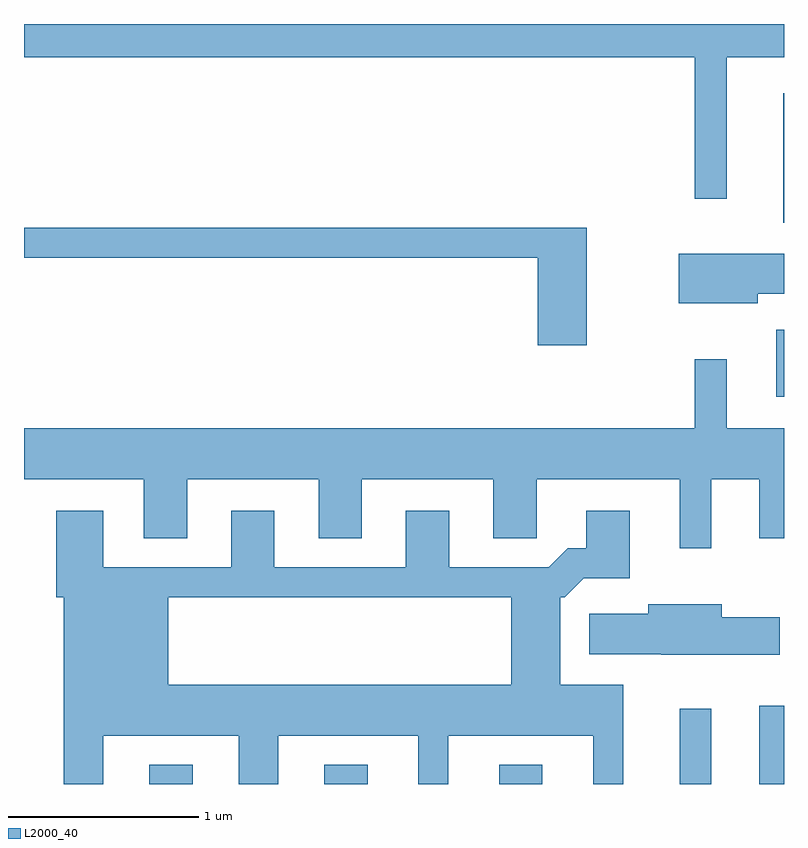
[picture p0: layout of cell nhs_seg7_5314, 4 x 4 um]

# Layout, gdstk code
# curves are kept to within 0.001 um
import gdstk
lib = gdstk.Library(unit=1e-6, precision=1e-09)
def R(c, l, rs):  # rectangles x0, y0, x1, y1
    for r in rs: c.add(gdstk.rectangle(r[:2], r[2:], *l))
def A(c, l, x, y, w, h, nx, ny, dx, dy):  # array of equal rectangles
    R(c, l, [(x+i*dx, y+j*dy, x+i*dx+w, y+j*dy+h) for i in range(nx) for j in range(ny)])
def P(c, l, *ps):  # polygons
    for p in ps: c.add(gdstk.Polygon(p, *l))
L2000_40 = (2000, 40)

nhs_seg7_5314 = lib.new_cell('nhs_seg7_5314')
A(nhs_seg7_5314, L2000_40, 348.271, 1728.252, 0.228, 0.102, 3, 1, 0.92, 0)
R(nhs_seg7_5314, L2000_40, [(351.061,1728.252,351.229,1728.648), (351.481,1728.252,351.611,1728.664), (351.571,1730.291,351.611,1730.644), (351.606,1731.206,351.611,1731.888)])
P(nhs_seg7_5314, L2000_40, [(351.309,1732.076),(351.611,1732.076),(351.611,1732.252),(347.611,1732.252),(347.611,1732.076),(351.141,1732.076),(351.141,1731.333),(351.309,1731.333)],
  [(350.574,1731.179),(347.611,1731.179),(347.611,1731.021),(350.316,1731.021),(350.316,1730.561),(350.574,1730.561)],
  [(351.474,1730.831),(351.611,1730.831),(351.611,1731.044),(351.056,1731.044),(351.056,1730.781),(351.474,1730.781)],
  [(351.229,1729.856),(351.481,1729.856),(351.481,1729.546),(351.611,1729.546),(351.611,1730.124),(351.309,1730.124),(351.309,1730.488),(351.141,1730.488),(351.141,1730.124),(347.611,1730.124),(347.611,1729.856),(348.241,1729.856),(348.241,1729.546),(348.469,1729.546),(348.469,1729.856),(349.161,1729.856),(349.161,1729.546),(349.389,1729.546),(349.389,1729.856),(350.081,1729.856),(350.081,1729.546),(350.309,1729.546),(350.309,1729.856),(351.061,1729.856),(351.061,1729.493),(351.229,1729.493)],
  [(348.029,1728.252),(348.029,1728.506),(348.741,1728.506),(348.741,1728.252),(348.949,1728.252),(348.949,1728.506),(349.686,1728.506),(349.686,1728.252),(349.844,1728.252),(349.844,1728.506),(350.606,1728.506),(350.606,1728.252),(350.764,1728.252),(350.764,1728.774),(350.434,1728.774),(350.434,1729.236),(350.457,1729.236),(350.557,1729.336),(350.799,1729.336),(350.799,1729.689),(350.571,1729.689),(350.571,1729.494),(350.474,1729.494),(350.374,1729.394),(349.849,1729.394),(349.849,1729.689),(349.621,1729.689),(349.621,1729.394),(348.929,1729.394),(348.929,1729.689),(348.701,1729.689),(348.701,1729.394),(348.029,1729.394),(348.029,1729.689),(347.781,1729.689),(347.781,1729.236),(347.821,1729.236),(347.821,1728.774),(348.369,1728.774),(348.369,1729.236),(350.176,1729.236),(350.176,1728.774),(347.821,1728.774),(347.821,1728.252)],
  [(351.589,1729.129),(351.284,1729.129),(351.284,1729.199),(350.896,1729.199),(350.896,1729.149),(350.586,1729.149),(350.586,1728.936),(350.965,1728.936),(350.965,1728.931),(351.589,1728.931)])

lib.write_gds('nhs_seg7_5314.gds')
